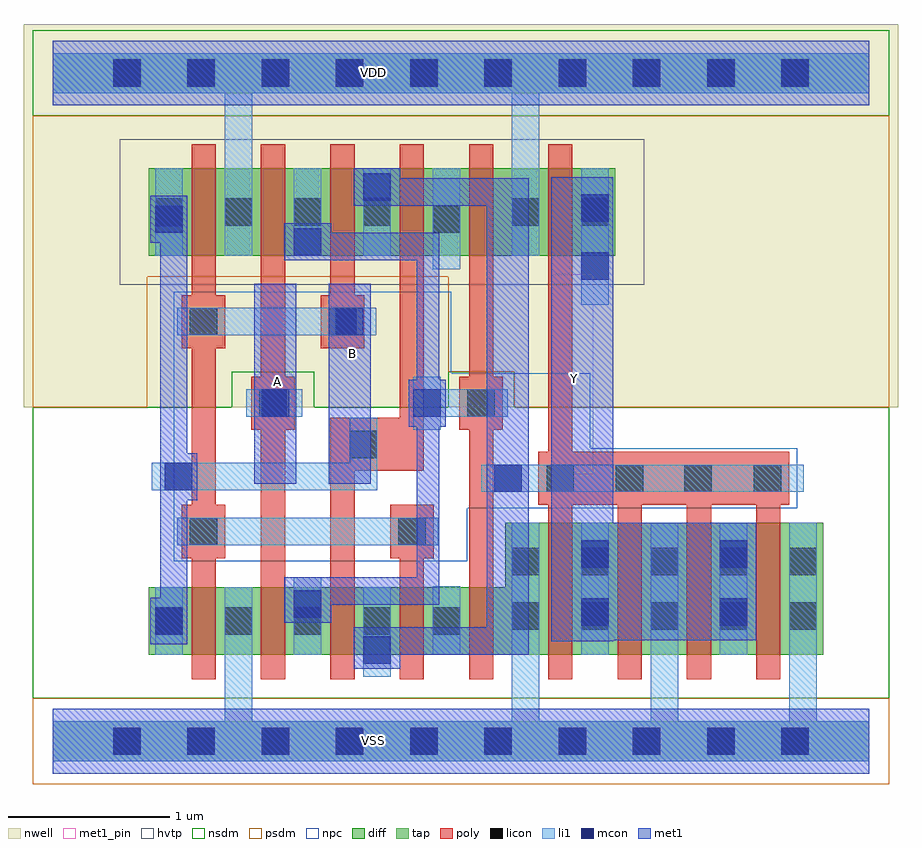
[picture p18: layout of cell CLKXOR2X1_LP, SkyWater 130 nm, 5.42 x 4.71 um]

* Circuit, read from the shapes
.subckt CLKXOR2X1_LP A B VDD VSS Y
XM1 VSS B n1 VSS sky130_fd_pr__nfet_01v8 w=0.42 l=0.15
XM2 n2 A VSS VSS sky130_fd_pr__nfet_01v8 w=0.42 l=0.15
XM3 n3 n1 n2 VSS sky130_fd_pr__nfet_01v8 w=0.42 l=0.15
XM4 n4 B n3 VSS sky130_fd_pr__nfet_01v8 w=0.42 l=0.15
XM5 VSS n2 n4 VSS sky130_fd_pr__nfet_01v8 w=0.42 l=0.15
XM6 Y n3 VSS VSS sky130_fd_pr__nfet_01v8 w=0.82 l=0.15 m=4
XM7 VDD B n1 VDD sky130_fd_pr__pfet_01v8_hvt w=0.54 l=0.15
XM8 n2 A VDD VDD sky130_fd_pr__pfet_01v8_hvt w=0.54 l=0.15
XM9 n3 B n2 VDD sky130_fd_pr__pfet_01v8_hvt w=0.54 l=0.15
XM10 n5 n1 n3 VDD sky130_fd_pr__pfet_01v8_hvt w=0.54 l=0.15
XM11 VDD n2 n5 VDD sky130_fd_pr__pfet_01v8_hvt w=0.54 l=0.15
XM12 Y n3 VDD VDD sky130_fd_pr__pfet_01v8_hvt w=0.54 l=0.15
.ends

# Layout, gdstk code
from math import pi, radians
import gdstk
lib = gdstk.Library(unit=1e-6, precision=1e-09)
def R(c, l, rs):  # rectangles x0, y0, x1, y1
    for r in rs: c.add(gdstk.rectangle(r[:2], r[2:], *l))
def A(c, l, x, y, w, h, nx, ny, dx, dy):  # array of equal rectangles
    R(c, l, [(x+i*dx, y+j*dy, x+i*dx+w, y+j*dy+h) for i in range(nx) for j in range(ny)])
def P(c, l, *ps):  # polygons
    for p in ps: c.add(gdstk.Polygon(p, *l))
nwell = (64, 20)
diff = (65, 20)
tap = (65, 44)
poly = (66, 20)
licon = (66, 44)
li1 = (67, 20)
mcon = (67, 44)
met1_pin = (68, 16)
met1 = (68, 20)
hvtp = (78, 44)
nsdm = (93, 44)
psdm = (94, 20)
npc = (95, 20)

l1m1_c_cdns_752016907001 = lib.new_cell('L1M1_C_CDNS_7520169070017')
R(l1m1_c_cdns_752016907001, li1, [(-0.085,-0.085,0.085,0.085)])
R(l1m1_c_cdns_752016907001, mcon, [(-0.085,-0.085,0.085,0.085)])
R(l1m1_c_cdns_752016907001, met1, [(-0.145,-0.115,0.145,0.115)])

c_l1m1_c_cdns_752016907001 = lib.new_cell('L1M1_C_CDNS_752016907001')
R(c_l1m1_c_cdns_752016907001, li1, [(-0.085,-0.165,0.085,0.165)])
R(c_l1m1_c_cdns_752016907001, mcon, [(-0.085,-0.085,0.085,0.085)])
R(c_l1m1_c_cdns_752016907001, met1, [(-0.115,-0.145,0.115,0.145)])

pyl1con_c_cdns_752016907 = lib.new_cell('PYL1CON_C_CDNS_752016907000')
R(pyl1con_c_cdns_752016907, poly, [(-0.135,-0.165,0.135,0.165)])
R(pyl1con_c_cdns_752016907, licon, [(-0.085,-0.085,0.085,0.085)])
R(pyl1con_c_cdns_752016907, npc, [(-0.185,-0.185,0.185,0.185)])

l1m1_c_cdns_752016907003 = lib.new_cell('L1M1_C_CDNS_752016907003')
R(l1m1_c_cdns_752016907003, li1, [(-0.165,-0.085,0.165,0.085)])
R(l1m1_c_cdns_752016907003, mcon, [(-0.085,-0.085,0.085,0.085)])
R(l1m1_c_cdns_752016907003, met1, [(-0.115,-0.145,0.115,0.145)])

l1m1_c_cdns_752016907006 = lib.new_cell('L1M1_C_CDNS_752016907006')
R(l1m1_c_cdns_752016907006, li1, [(-0.085,-0.165,0.085,0.165)])
R(l1m1_c_cdns_752016907006, mcon, [(-0.085,-0.085,0.085,0.085)])
R(l1m1_c_cdns_752016907006, met1, [(-0.145,-0.115,0.145,0.115)])

licondiff_c_cdns_7520169 = lib.new_cell('LICONDIFF_C_CDNS_752016907004')
R(licondiff_c_cdns_7520169, diff, [(-0.125,-0.145,0.125,0.145)])
R(licondiff_c_cdns_7520169, licon, [(-0.085,-0.085,0.085,0.085), (-0.085,-0.085,0.085,0.085)])

c_l1m1_c_cdns_752016907001_ = lib.new_cell('L1M1_C_CDNS_7520169070018')
R(c_l1m1_c_cdns_752016907001_, li1, [(-0.085,-0.165,0.085,0.085)])
R(c_l1m1_c_cdns_752016907001_, mcon, [(-0.085,-0.085,0.085,0.085)])
R(c_l1m1_c_cdns_752016907001_, met1, [(-0.115,-0.13,0.115,0.13)])

clkxor2x1_lp = lib.new_cell('CLKXOR2X1_LP')
R(clkxor2x1_lp, nwell, [(-0.18,2.07,5.24,4.445)])
R(clkxor2x1_lp, diff, [(0.595,3.01,3.485,3.55)])
P(clkxor2x1_lp, diff, [(4.775,1.355),(2.805,1.355),(2.805,0.955),(0.595,0.955),(0.595,0.535),(4.775,0.535)])
R(clkxor2x1_lp, poly, [(0.86,0.385,1.01,3.7), (1.29,0.385,1.44,3.7), (2.15,0.385,2.3,1.34), (2.58,0.385,2.73,3.7), (3.07,0.385,3.22,3.7), (1.72,2.6,1.87,3.7)])
P(clkxor2x1_lp, poly, [(2.3,3.7),(2.15,3.7),(2.15,2.005),(1.72,2.005),(1.72,0.385),(1.87,0.385),(1.87,1.675),(2.3,1.675)],
  [(4.565,1.795),(3.28,1.795),(3.28,1.465),(3.5,1.465),(3.5,0.385),(3.65,0.385),(3.65,1.465),(3.93,1.465),(3.93,0.385),(4.08,0.385),(4.08,1.465),(4.36,1.465),(4.36,0.385),(4.51,0.385),(4.51,1.465),(4.565,1.465)])
A(clkxor2x1_lp, licon, 0.375, -0.085, 0.17, 0.17, 10, 2, 0.46, 4.14)
A(clkxor2x1_lp, licon, 0.635, 0.66, 0.17, 0.17, 4, 2, 0.43, 2.535)
A(clkxor2x1_lp, licon, 2.845, 0.69, 0.17, 0.17, 5, 2, 0.43, 0.34)
R(clkxor2x1_lp, licon, [(2.845,3.195,3.015,3.365), (3.275,3.195,3.445,3.365)])
R(clkxor2x1_lp, li1, [(0.635,0.535,0.805,0.955), (1.495,0.535,1.665,0.955), (1.925,0.535,2.095,0.955), (3.275,0.535,3.445,1.355), (4.135,0.535,4.305,1.355), (2.655,1.545,4.655,1.715), (3.275,2.705,3.445,3.55), (0.635,3.01,0.805,3.55), (1.495,3.01,1.665,3.55), (1.925,3.01,2.095,3.55)])
P(clkxor2x1_lp, li1, [(5.06,4.265),(0,4.265),(0,4.015),(1.065,4.015),(1.065,3.01),(1.235,3.01),(1.235,4.015),(2.845,4.015),(2.845,3.01),(3.015,3.01),(3.015,4.015),(5.06,4.015)],
  [(5.06,0.125),(4.735,0.125),(4.735,1.355),(4.565,1.355),(4.565,0.125),(3.875,0.125),(3.875,1.355),(3.705,1.355),(3.705,0.125),(3.015,0.125),(3.015,1.355),(2.845,1.355),(2.845,0.125),(1.235,0.125),(1.235,0.955),(1.065,0.955),(1.065,0.125),(0,0.125),(0,-0.125),(5.06,-0.125)])
A(clkxor2x1_lp, mcon, 0.375, -0.085, 0.17, 0.17, 10, 2, 0.46, 4.14)
R(clkxor2x1_lp, mcon, [(3.275,0.715,3.445,0.885), (4.135,0.715,4.305,0.885), (3.275,1.075,3.445,1.245), (4.135,1.075,4.305,1.245), (3.275,2.86,3.445,3.03), (3.275,3.22,3.445,3.39)])
R(clkxor2x1_lp, met1_pin, [(1.25,1.595,1.51,2.835), (1.71,1.595,1.97,2.835), (3.09,1.655,3.35,2.895)])
P(clkxor2x1_lp, met1, [(2.395,3.15),(1.435,3.15),(1.435,2.98),(2.255,2.98),(2.255,1.015),(1.435,1.015),(1.435,0.845),(2.395,0.845)],
  [(2.95,3.49),(1.865,3.49),(1.865,3.32),(2.69,3.32),(2.69,0.705),(1.865,0.705),(1.865,0.535),(2.95,0.535)],
  [(4.36,1.355),(3.475,1.355),(3.475,3.495),(3.09,3.495),(3.09,0.62),(3.475,0.62),(3.475,0.625),(4.36,0.625)])
R(clkxor2x1_lp, hvtp, [(0.415,2.83,3.665,3.73)])
R(clkxor2x1_lp, nsdm, [(-0.125,3.875,5.185,4.405)])
P(clkxor2x1_lp, nsdm, [(5.185,2.07),(2.86,2.07),(2.86,2.29),(2.45,2.29),(2.45,2.07),(1.62,2.07),(1.62,2.29),(1.11,2.29),(1.11,2.07),(-0.125,2.07),(-0.125,0.265),(5.185,0.265)])
R(clkxor2x1_lp, psdm, [(-0.125,-0.265,5.185,0.265)])
P(clkxor2x1_lp, psdm, [(5.185,3.875),(-0.125,3.875),(-0.125,2.07),(0.585,2.07),(0.585,2.88),(2.45,2.88),(2.45,2.29),(2.86,2.29),(2.86,2.07),(5.185,2.07)])
P(clkxor2x1_lp, npc, [(4.615,1.815),(3.33,1.815),(3.33,2.28),(2.47,2.28),(2.47,2.785),(0.75,2.785),(0.75,1.115),(2.57,1.115),(2.57,1.445),(4.615,1.445)])
clkxor2x1_lp.add(gdstk.FlexPath([(0.71,1.64),(1.925,1.64),(1.925,2.005)], 0.17, ends="flush", simple_path=True, layer=67, datatype=20))  # li1
clkxor2x1_lp.add(gdstk.FlexPath([(1.545,2.095),(1.2,2.095)], 0.17, ends="flush", simple_path=True, layer=67, datatype=20))  # li1
clkxor2x1_lp.add(gdstk.FlexPath([(0.77,2.6),(1.96,2.6)], 0.17, ends="flush", simple_path=True, layer=67, datatype=20))  # li1
clkxor2x1_lp.add(gdstk.FlexPath([(0.77,1.3),(2.39,1.3)], 0.17, ends="flush", simple_path=True, layer=67, datatype=20))  # li1
clkxor2x1_lp.add(gdstk.FlexPath([(2.405,2.095),(2.82,2.095)], 0.17, ends="flush", simple_path=True, layer=67, datatype=20))  # li1
clkxor2x1_lp.add(gdstk.FlexPath([(2.44,2.925),(2.44,3.55)], 0.17, ends="flush", simple_path=True, layer=67, datatype=20))  # li1
clkxor2x1_lp.add(gdstk.FlexPath([(2.44,0.535),(2.44,0.96)], 0.17, ends="flush", simple_path=True, layer=67, datatype=20))  # li1
clkxor2x1_lp.add(gdstk.FlexPath([(0,0),(5.06,0)], 0.4, ends="flush", simple_path=True, layer=68, datatype=16))  # met1_pin
clkxor2x1_lp.add(gdstk.FlexPath([(0,4.14),(5.06,4.14)], 0.4, ends="flush", simple_path=True, layer=68, datatype=16))  # met1_pin
clkxor2x1_lp.add(gdstk.FlexPath([(0,4.14),(5.06,4.14)], 0.25, ends="flush", simple_path=True, layer=65, datatype=44))  # tap
clkxor2x1_lp.add(gdstk.FlexPath([(0,0),(5.06,0)], 0.25, ends="flush", simple_path=True, layer=65, datatype=44))  # tap
clkxor2x1_lp.add(gdstk.FlexPath([(0,4.14),(5.06,4.14)], 0.4, ends="flush", simple_path=True, layer=68, datatype=20))  # met1
clkxor2x1_lp.add(gdstk.FlexPath([(0,0),(5.06,0)], 0.4, ends="flush", simple_path=True, layer=68, datatype=20))  # met1
clkxor2x1_lp.add(gdstk.FlexPath([(1.84,1.595),(1.84,2.835)], 0.26, ends="flush", simple_path=True, layer=68, datatype=20))  # met1
clkxor2x1_lp.add(gdstk.FlexPath([(0.75,0.655),(0.75,3.375)], 0.17, ends="flush", simple_path=True, layer=68, datatype=20))  # met1
clkxor2x1_lp.add(gdstk.FlexPath([(1.38,1.595),(1.38,2.835)], 0.26, ends="flush", simple_path=True, layer=68, datatype=20))  # met1
clkxor2x1_lp.add(gdstk.Reference(l1m1_c_cdns_752016907001, (2.01,3.435), rotation=pi))
clkxor2x1_lp.add(gdstk.Reference(l1m1_c_cdns_752016907001, (1.58,3.095), rotation=pi))
clkxor2x1_lp.add(gdstk.Reference(c_l1m1_c_cdns_752016907001, (0.72,0.745)))
clkxor2x1_lp.add(gdstk.Reference(c_l1m1_c_cdns_752016907001, (2.32,2.095)))
clkxor2x1_lp.add(gdstk.Reference(c_l1m1_c_cdns_752016907001, (0.72,3.235)))
clkxor2x1_lp.add(gdstk.Reference(pyl1con_c_cdns_752016907, (3.575,1.63), rotation=pi))
clkxor2x1_lp.add(gdstk.Reference(pyl1con_c_cdns_752016907, (3.145,1.63), rotation=pi))
clkxor2x1_lp.add(gdstk.Reference(pyl1con_c_cdns_752016907, (2.655,2.095), rotation=pi))
clkxor2x1_lp.add(gdstk.Reference(pyl1con_c_cdns_752016907, (4,1.63), rotation=pi))
clkxor2x1_lp.add(gdstk.Reference(pyl1con_c_cdns_752016907, (1.365,2.095), rotation=pi))
clkxor2x1_lp.add(gdstk.Reference(pyl1con_c_cdns_752016907, (1.795,2.6), rotation=pi))
clkxor2x1_lp.add(gdstk.Reference(pyl1con_c_cdns_752016907, (0.935,2.6), rotation=pi))
clkxor2x1_lp.add(gdstk.Reference(pyl1con_c_cdns_752016907, (1.925,1.84), rotation=pi))
clkxor2x1_lp.add(gdstk.Reference(pyl1con_c_cdns_752016907, (2.225,1.3), rotation=pi))
clkxor2x1_lp.add(gdstk.Reference(pyl1con_c_cdns_752016907, (0.935,1.3), rotation=pi))
clkxor2x1_lp.add(gdstk.Reference(pyl1con_c_cdns_752016907, (4.43,1.63), rotation=pi))
clkxor2x1_lp.add(gdstk.Reference(l1m1_c_cdns_752016907003, (1.84,2.6), x_reflection=True))
clkxor2x1_lp.add(gdstk.Reference(l1m1_c_cdns_752016907003, (1.38,2.095), x_reflection=True))
clkxor2x1_lp.add(gdstk.Reference(l1m1_c_cdns_752016907003, (0.78,1.64), rotation=pi, x_reflection=True))
clkxor2x1_lp.add(gdstk.Reference(l1m1_c_cdns_752016907006, (1.58,0.85), rotation=pi))
clkxor2x1_lp.add(gdstk.Reference(l1m1_c_cdns_752016907006, (2.01,0.565), rotation=pi))
clkxor2x1_lp.add(gdstk.Reference(licondiff_c_cdns_7520169, (2.44,0.745)))
clkxor2x1_lp.add(gdstk.Reference(licondiff_c_cdns_7520169, (2.44,3.235)))
clkxor2x1_lp.add(gdstk.Reference(c_l1m1_c_cdns_752016907001_, (2.82,1.63), rotation=pi/2))
clkxor2x1_lp.add(gdstk.Label('Y', (3.235,2.25), layer=68, texttype=5))
clkxor2x1_lp.add(gdstk.Label('A', (1.395,2.23), layer=68, texttype=5))
clkxor2x1_lp.add(gdstk.Label('VDD', (1.985,4.145), layer=68, texttype=5))
clkxor2x1_lp.add(gdstk.Label('B', (1.855,2.405), layer=68, texttype=5))
clkxor2x1_lp.add(gdstk.Label('VSS', (1.985,0.005), layer=68, texttype=5))

lib.write_gds('CLKXOR2X1_LP.gds')
